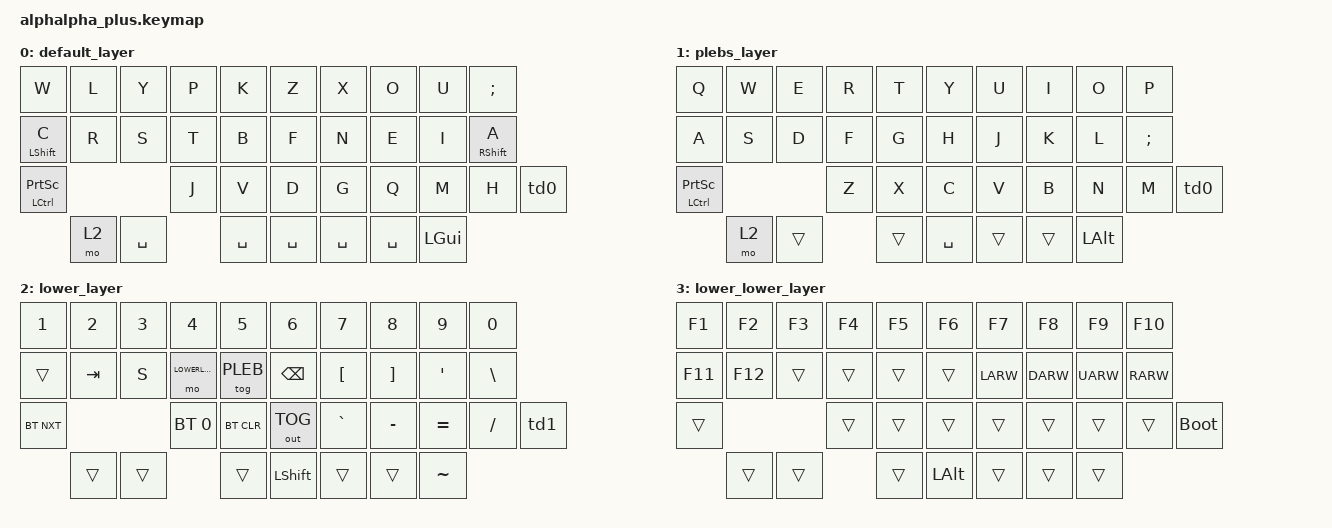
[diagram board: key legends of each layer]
#include <behaviors.dtsi>
#include <dt-bindings/zmk/keys.h>
#include <dt-bindings/zmk/bt.h>
#include <dt-bindings/zmk/outputs.h>
#define DEFAULT 0
#define LOWER   2
#define LOWERLOWER   3
#define PLEB 1

&mt {
    tapping-term-ms = <500>;
};

/ {
    combos {
        compatible = "zmk,combos";
        combo_ret {
            timeout-ms = <50>;
            key-positions = <19 18 32>;
            bindings = <&kp RET>;
        };
        combo_cmma {
            timeout-ms = <50>;
            key-positions = <10 16>;
            bindings = <&kp CMMA>;
        };
        combo_dot {
            timeout-ms = <50>;
            key-positions = <10 17>;
            bindings = <&kp DOT>;
        };
        combo_esc {
            timeout-ms = <50>;
            key-positions = <0 1>;
            bindings = <&kp ESC>;
        };
    };
};

/ {

behaviors {
        hm: homerow_mods {
            compatible = "zmk,behavior-hold-tap";
            label = "HOMEROW_MODS";
            #binding-cells = <2>;
            tapping-term-ms = <300>;
            quick-tap-ms = <0>;
            flavor = "tap-preferred";
            bindings = <&kp>, <&kp>;
        };
        td0: tap_dance_0 {
            compatible = "zmk,behavior-tap-dance";
            label = "TAP_DANCE_0";
            #binding-cells = <0>;
            tapping-term-ms = <200>;
            bindings = <&kp K_COPY >, <&kp K_PASTE>;
        };
        td1: tap_dance_1 {
            compatible = "zmk,behavior-tap-dance";
            label = "TAP_DANCE_1";
            #binding-cells = <0>;
            tapping-term-ms = <200>;
            bindings = <&kp K_UNDO >, <&kp K_REDO>;
        };
    };

  keymap {
    compatible = "zmk,keymap";

    default_layer {
// -----------------------------------------------------------------------------------------
// |  W   |  L   |  Y   |  P   |  T   |   Y   |  U    |  I   |  O   |   P   |
// |  A   |  S   |  D   |  F   |  G   |   H   |  J    |  K   |  L   |   ;   |
//      |  Z   |  X   |  C   |  V   |  B   |   N   |  M    |  ,   |  .   |
//                         | LOWR |     SPACE    |  RAIS |
      bindings = <
  &kp W    &kp L &kp Y &kp P &kp K  &kp Z   &kp X  &kp O    &kp U   &kp SEMI
  &hm LSHIFT C    &kp R &kp S &kp T &kp B  &kp F   &kp N  &kp E    &kp I   &hm RSHIFT A
      &mt LCTL PSCRN  &kp J &kp V &kp D &kp G  &kp Q   &kp M  &kp H &td0
                &mo 2 &kp SPC &kp SPC &kp SPC &kp SPC &kp SPC &kp LGUI
      >;
    };

    plebs_layer {
      bindings = <
      &kp Q    &kp W &kp E &kp R &kp T  &kp Y   &kp U  &kp I    &kp O   &kp P
      &kp A    &kp S &kp D &kp F &kp G  &kp H   &kp J  &kp K    &kp L   &kp SEMI
          &mt LCTL PSCRN   &kp Z &kp X &kp C &kp V  &kp B   &kp N  &kp M &td0
                  &mo 2 &trans &trans &kp SPC &trans &trans &kp LALT
      >;
    };

    lower_layer {
      bindings = <
      &kp NUM_1 &kp NUM_2 &kp NUM_3 &kp NUM_4 &kp NUM_5 &kp NUM_6 &kp NUM_7 &kp NUM_8 &kp NUM_9 &kp NUM_0
      &trans    &kp TAB &kp S &mo LOWERLOWER &tog PLEB  &kp BKSP   &kp LBKT &kp RBKT &kp SQT &kp BSLH
          &bt BT_NXT &bt BT_SEL 0 &bt BT_CLR &out OUT_TOG &kp GRAVE  &kp MINUS   &kp EQUAL  &kp FSLH &td1
                              &trans &trans &trans &kp LSHIFT &trans &trans &kp TILDE
      >;
    };

    lower_lower_layer {
        bindings = <
        &kp F1 &kp F2 &kp F3 &kp F4 &kp F5 &kp F6 &kp F7 &kp F8 &kp F9 &kp F10
        &kp F11 &kp F12 &trans &trans &trans  &trans   &kp LARW  &kp DARW    &kp UARW   &kp RARW
            &trans  &trans &trans &trans &trans  &trans  &trans  &trans &bootloader
                              &trans  &trans &trans &kp LALT &trans &trans &trans
        >;
      };

  };
};
